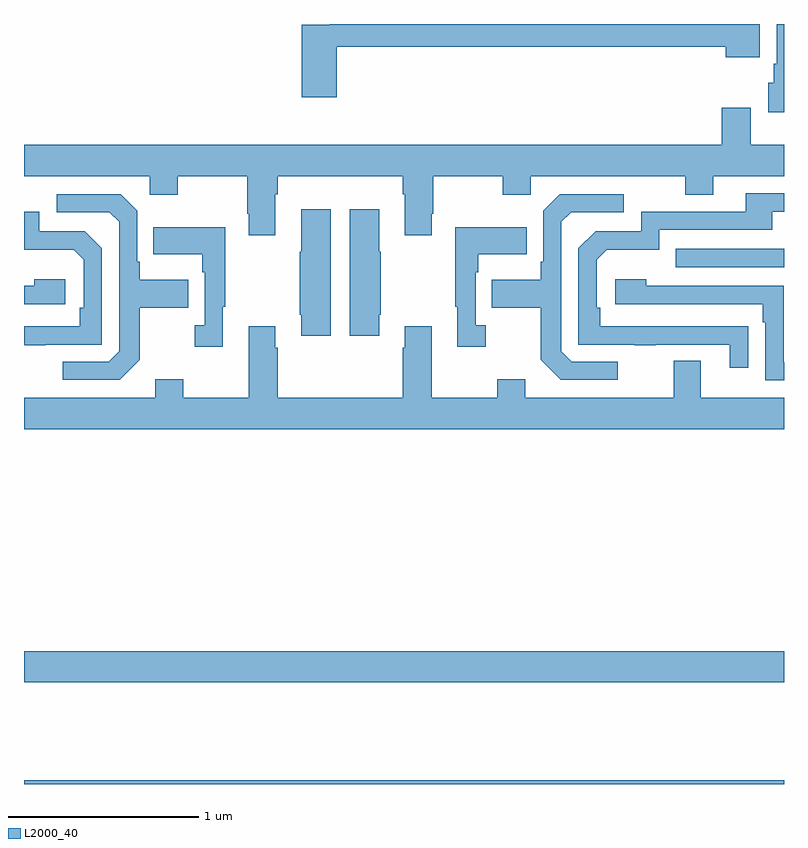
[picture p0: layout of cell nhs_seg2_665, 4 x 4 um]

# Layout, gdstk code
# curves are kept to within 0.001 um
import gdstk
lib = gdstk.Library(unit=1e-6, precision=1e-09)
def R(c, l, rs):  # rectangles x0, y0, x1, y1
    for r in rs: c.add(gdstk.rectangle(r[:2], r[2:], *l))
def P(c, l, *ps):  # polygons
    for p in ps: c.add(gdstk.Polygon(p, *l))
L2000_40 = (2000, 40)

nhs_seg2_665 = lib.new_cell('nhs_seg2_665')
R(nhs_seg2_665, L2000_40, [(145,613.8,149,613.82), (145,614.336,149,614.5), (148.429,616.521,149,616.617)])
P(nhs_seg2_665, L2000_40, [(146.645,617.68),(148.694,617.68),(148.694,617.624),(148.873,617.624),(148.873,617.8),(146.608,617.8),(146.608,617.796),(146.462,617.796),(146.462,617.415),(146.645,617.415)],
  [(149,617.8),(148.961,617.8),(148.961,617.59),(148.946,617.59),(148.946,617.49),(148.916,617.49),(148.916,617.336),(149,617.336)],
  [(145,617),(145.662,617),(145.662,616.901),(145.809,616.901),(145.809,617),(146.176,617),(146.176,616.801),(146.183,616.801),(146.183,616.689),(146.323,616.689),(146.323,616.904),(146.336,616.904),(146.336,617),(146.993,617),(146.993,616.904),(147.005,616.904),(147.005,616.689),(147.145,616.689),(147.145,616.801),(147.153,616.801),(147.153,617),(147.52,617),(147.52,616.901),(147.666,616.901),(147.666,617),(148.48,617),(148.48,616.901),(148.627,616.901),(148.627,617),(149,617),(149,617.164),(148.825,617.164),(148.825,617.359),(148.673,617.359),(148.673,617.164),(145,617.164)],
  [(148.811,616.208),(148.034,616.209),(148.034,616.306),(148.014,616.306),(148.014,616.56),(148.067,616.613),(148.344,616.613),(148.344,616.716),(148.939,616.716),(148.939,616.812),(149,616.812),(149,616.908),(148.799,616.908),(148.799,616.812),(148.248,616.812),(148.248,616.71),(148.008,616.71),(147.918,616.62),(147.918,616.113),(148.213,616.113),(148.213,616.108),(148.325,616.108),(148.325,616.113),(148.715,616.113),(148.715,615.99),(148.811,615.99)],
  [(145.609,616.033),(145.609,616.306),(145.865,616.306),(145.865,616.453),(145.609,616.453),(145.609,616.549),(145.596,616.549),(145.596,616.818),(145.509,616.905),(145.173,616.905),(145.173,616.809),(145.449,616.809),(145.5,616.758),(145.5,616.077),(145.446,616.023),(145.203,616.023),(145.203,615.927),(145.503,615.927)],
  [(148.126,616.023),(147.882,616.023),(147.828,616.077),(147.828,616.758),(147.879,616.809),(148.156,616.809),(148.156,616.905),(147.819,616.905),(147.732,616.818),(147.732,616.549),(147.72,616.549),(147.72,616.453),(147.463,616.453),(147.463,616.306),(147.72,616.306),(147.72,616.033),(147.825,615.927),(148.126,615.927)],
  [(146.869,616.27),(146.877,616.27),(146.877,616.601),(146.869,616.601),(146.869,616.825),(146.714,616.825),(146.714,616.158),(146.869,616.158)],
  [(146.614,616.825),(146.459,616.825),(146.459,616.601),(146.452,616.601),(146.452,616.27),(146.459,616.27),(146.459,616.158),(146.614,616.158)],
  [(145.115,616.113),(145.41,616.113),(145.41,616.62),(145.32,616.71),(145.08,616.71),(145.08,616.812),(145,616.812),(145,616.613),(145.261,616.613),(145.314,616.56),(145.314,616.306),(145.294,616.306),(145.294,616.209),(145,616.209),(145,616.113),(145.003,616.113),(145.003,616.108),(145.115,616.108)],
  [(147.43,616.214),(147.378,616.214),(147.378,616.493),(147.391,616.493),(147.391,616.589),(147.647,616.589),(147.647,616.729),(147.27,616.729),(147.27,616.313),(147.281,616.313),(147.281,616.101),(147.43,616.101)],
  [(146.047,616.313),(146.059,616.313),(146.059,616.729),(145.681,616.729),(145.681,616.589),(145.938,616.589),(145.938,616.493),(145.95,616.493),(145.95,616.214),(145.899,616.214),(145.899,616.101),(146.047,616.101)],
  [(145.216,616.456),(145.055,616.456),(145.055,616.422),(145,616.422),(145,616.326),(145.216,616.326)],
  [(149,616.02),(148.998,616.02),(148.998,616.422),(148.274,616.422),(148.274,616.456),(148.113,616.456),(148.113,616.326),(148.889,616.326),(148.889,616.229),(148.902,616.229),(148.902,615.924),(149,615.924)],
  [(149,615.832),(148.561,615.832),(148.561,616.027),(148.421,616.027),(148.421,615.832),(147.637,615.832),(147.637,615.931),(147.49,615.931),(147.49,615.832),(147.145,615.832),(147.145,616.21),(147.005,616.21),(147.005,616.097),(146.993,616.097),(146.993,615.832),(146.336,615.832),(146.336,616.097),(146.323,616.097),(146.323,616.21),(146.183,616.21),(146.183,615.832),(145.839,615.832),(145.839,615.931),(145.691,615.931),(145.691,615.832),(145,615.832),(145,615.668),(149,615.668)])

lib.write_gds('nhs_seg2_665.gds')
